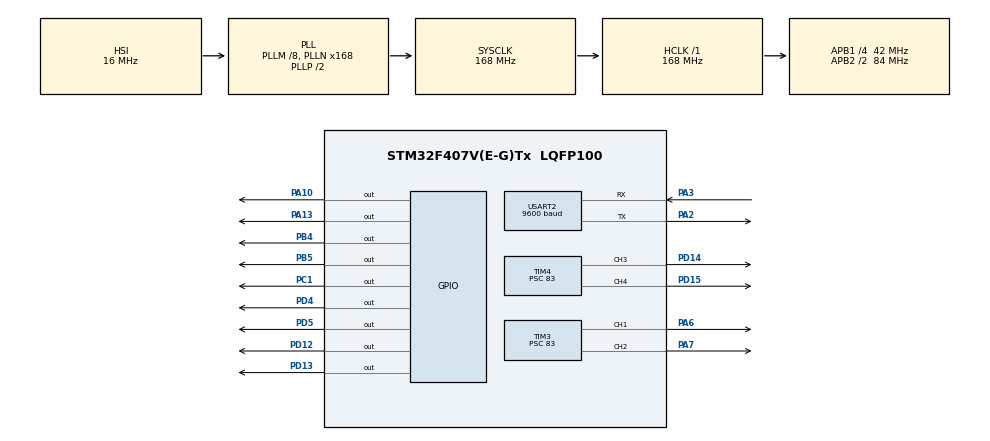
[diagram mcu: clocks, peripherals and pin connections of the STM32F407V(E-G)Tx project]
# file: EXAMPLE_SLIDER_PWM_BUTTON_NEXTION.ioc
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Mcu.Family=STM32F4
RCC.CortexFreq_Value=168000000
SH.S_TIM4_CH4.0=TIM4_CH4,PWM Generation4 CH4
TIM6.Prescaler=83
VP_TIM6_VS_ClockSourceINT.Mode=Enable_Timer
PD5.Signal=GPIO_Output
RCC.APB1CLKDivider=RCC_HCLK_DIV4
USART2.BaudRate=9600
RCC.SYSCLKSource=RCC_SYSCLKSOURCE_PLLCLK
ProjectManager.StackSize=0x400
PA13.Signal=GPIO_Output
PD13.Signal=GPIO_Output
PA3.Mode=Asynchronous
ProjectManager.TargetToolchain=STM32CubeIDE
SH.S_TIM4_CH3.0=TIM4_CH3,PWM Generation3 CH3
RCC.HCLKFreq_Value=168000000
PD4.Signal=GPIO_Output
RCC.APB2TimFreq_Value=168000000
TIM3.Period=19999
TIM4.Prescaler=83
RCC.LSE_VALUE=32768
RCC.AHBFreq_Value=168000000
TIM3.Channel-PWM\ Generation1\ CH1=TIM_CHANNEL_1
SH.S_TIM3_CH2.0=TIM3_CH2,PWM Generation2 CH2
RCC.HSE_VALUE=25000000
TIM4.Channel-PWM\ Generation3\ CH3=TIM_CHANNEL_3
board=custom
RCC.VCOOutputFreq_Value=336000000
RCC.APB2Freq_Value=84000000
VP_TIM2_VS_ClockSourceINT.Mode=Internal
TIM3.Prescaler=83
NVIC.TIM2_IRQn=true\:0\:0\:false\:false\:true\:true\:true
SH.S_TIM3_CH1.0=TIM3_CH1,PWM Generation1 CH1
TIM2.Period=9999
TIM4.Period=99
TIM6.Period=65534
Mcu.Name=STM32F407V(E-G)Tx
PA2.Signal=USART2_TX
PD14.Signal=S_TIM4_CH3
RCC.48MHZClocksFreq_Value=84000000
RCC.SYSCLKFreq_VALUE=168000000
Mcu.Package=LQFP100
PB5.Signal=GPIO_Output
TIM2.Prescaler=8399
PA6.Signal=S_TIM3_CH1
USART2.VirtualMode=VM_ASYNC
PD12.Signal=GPIO_Output
PA10.Signal=GPIO_Output
ProjectManager.HeapSize=0x200
RCC.HSI_VALUE=16000000
NVIC.PriorityGroup=NVIC_PRIORITYGROUP_4
RCC.APB2CLKDivider=RCC_HCLK_DIV2
TIM3.Channel-PWM\ Generation2\ CH2=TIM_CHANNEL_2
RCC.PLLM=8
RCC.PLLN=168
RCC.APB1TimFreq_Value=84000000
PA2.Mode=Asynchronous
TIM4.Channel-PWM\ Generation4\ CH4=TIM_CHANNEL_4
RCC.APB1Freq_Value=42000000
PD15.Signal=S_TIM4_CH4
PC1.Signal=GPIO_Output
PB4.Signal=GPIO_Output
PA3.Signal=USART2_RX
PA7.Signal=S_TIM3_CH2

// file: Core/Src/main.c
/* USER CODE BEGIN Header */
/**
  ******************************************************************************
  * @file           : main.c
  * @brief          : Main program body
  ******************************************************************************
  * @attention
  *
  * <h2><center>&copy; Copyright (c) 2021 STMicroelectronics.
  * All rights reserved.</center></h2>
  *
  * This software component is licensed by ST under BSD 3-Clause license,
  * the "License"; You may not use this file except in compliance with the
  * License. You may obtain a copy of the License at:
  *                        opensource.org/licenses/BSD-3-Clause
  *
  ******************************************************************************
  */
/* USER CODE END Header */
#include "main.h"

/* USER CODE BEGIN Includes */
#include "stdio.h"    // 'sprintf'
#include "string.h"   // 'memset'
#include <stdlib.h>   // 'atoi'
/* USER CODE END Includes */

/* USER CODE BEGIN PD */
//Dht11
#define DHT11_PORT GPIOC      //DHT11_PIN port bilgisi
#define DHT11_PIN GPIO_PIN_1  //DHT11_PIN pin bilgisi

/* USER CODE END PD */

TIM_HandleTypeDef htim2;
TIM_HandleTypeDef htim3;
TIM_HandleTypeDef htim4;
TIM_HandleTypeDef htim6;

UART_HandleTypeDef huart2;

/* USER CODE BEGIN PV */
uint8_t rx_buffer[50],tx_buffer[50];

uint8_t cmdEnd[3] = {0xFF, 0xFF, 0xFF};           //Mesajın sonuna eklenir

char str[10];

char component_id[50],slider_deger[50];          //Gelen veriyi component_id ve slider_deger olarak iki parçaya ayırıyoruz.
char *token ;                                    //Uart dan verileri tokenlere ayiriyoruz.

int slider_value_1 = 0, slider_value_2 = 0;                        //Slider degerini metindenden tamsayı değere çeviriyoruz.

uint8_t servo_1 = 0, servo_2,role_1 = 0, role_2 = 0;               //Servo ve röleleri aç-kapa yapabilmek için değişken.

//DHT11 icin degiskenler
uint16_t durum=0,Humidity=0,Temperature=0;
uint16_t tempVal=0,humVal=0;
uint8_t dhtVal[2] ;
uint8_t mData[40];
uint16_t mTime1 = 0, mTime2 = 0;
uint16_t mbit = 0;
uint8_t  parityVal = 0, genParity = 0;
uint16_t if_sarti= 0;
//Dht11 degiskenler sonu
/* USER CODE END PV */

void SystemClock_Config(void);
static void MX_GPIO_Init(void);
static void MX_USART2_UART_Init(void);
static void MX_TIM4_Init(void);
static void MX_TIM3_Init(void);
static void MX_TIM2_Init(void);
static void MX_TIM6_Init(void);
/* USER CODE BEGIN PFP */

//DHT11 icin fonksiyon tanimlari
void delay(uint16_t time);
void Set_Pin_Output(GPIO_TypeDef *GPIOx, uint16_t GPIO_Pin);
void Set_Pin_Input(GPIO_TypeDef *GPIOx, uint16_t GPIO_Pin);
uint8_t DHT11_Read (uint16_t *sicaklik, uint16_t *nem);

void HAL_TIM_PeriodElapsedCallback(TIM_HandleTypeDef *htim);

/* USER CODE END PFP */

int main(void)
{

  /* MCU Configuration--------------------------------------------------------*/

  /* Reset of all peripherals, Initializes the Flash interface and the Systick. */
  HAL_Init();

  /* Configure the system clock */
  SystemClock_Config();

  /* Initialize all configured peripherals */
  MX_GPIO_Init();
  MX_USART2_UART_Init();
  MX_TIM4_Init();
  MX_TIM3_Init();
  MX_TIM2_Init();
  MX_TIM6_Init();
  /* USER CODE BEGIN 2 */
  HAL_TIM_Base_Start(&htim6);      //DHT 11 gecikme hesaplama için
  HAL_TIM_Base_Start_IT(&htim2);   //DHT 11 1 saniyede bir deger okumak icin

  HAL_TIM_PWM_Start(&htim4, TIM_CHANNEL_3);   // slider1
  HAL_TIM_PWM_Start(&htim4, TIM_CHANNEL_4);   // slider2

  HAL_TIM_PWM_Start(&htim3, TIM_CHANNEL_1);   // 1. servo
  HAL_TIM_PWM_Start(&htim3, TIM_CHANNEL_2);   // 2. servo

  HAL_UART_Transmit(&huart2,(uint8_t*)tx_buffer, sprintf((char*)tx_buffer,"t0.txt=\"baglanti kuruldu\""), 100);
  HAL_UART_Transmit(&huart2, cmdEnd, 3, 100);

  /* USER CODE END 2 */

  /* Infinite loop */
  while (1)
  {

    /* USER CODE BEGIN 3 */
	  HAL_UART_Receive(&huart2, rx_buffer, 50, 100);
	  memcpy(str, rx_buffer, 50);

	  token = strtok(str, " ");
	  strcpy(component_id, token);
	  token = strtok(NULL, " ");
	  strcpy(slider_deger, token);

	  if(strcmp(component_id, "AB") == 0)
	  {
		  if(servo_1 % 2 == 0)
		  {
			  HAL_GPIO_WritePin(GPIOD, GPIO_PIN_12, GPIO_PIN_SET);
			  __HAL_TIM_SET_COMPARE(&htim3, TIM_CHANNEL_1, 500);
		  }
		  else
		  {
			  HAL_GPIO_WritePin(GPIOD, GPIO_PIN_12, GPIO_PIN_RESET);
			  __HAL_TIM_SET_COMPARE(&htim3, TIM_CHANNEL_1, 2500);
		  }
		  servo_1++;
		  //HAL_GPIO_TogglePin(GPIOD, GPIO_PIN_12);
		  memset(rx_buffer, 0, sizeof(rx_buffer));
		  memset(str, 0, sizeof(str));
		  memset(slider_deger, 0, sizeof(slider_deger));
		  memset(component_id, 0, sizeof(component_id));
	  }
	  else if(strcmp(component_id, "CD") == 0)
	  {
		  if(servo_2 % 2 == 0)
		  {
			  __HAL_TIM_SET_COMPARE(&htim3, TIM_CHANNEL_2, 500);
		  }
		  else
		  {
			  __HAL_TIM_SET_COMPARE(&htim3, TIM_CHANNEL_2, 2500);
		  }
		  servo_2++;
		  HAL_GPIO_TogglePin(GPIOD, GPIO_PIN_13);
		  memset(rx_buffer, 0, sizeof(rx_buffer));
		  memset(str, 0, sizeof(str));
		  memset(slider_deger, 0, sizeof(slider_deger));
		  memset(component_id, 0, sizeof(component_id));
	  }
	  else if(strcmp(component_id, "EF") == 0)
	  	  {
	  		  HAL_GPIO_TogglePin(GPIOB, GPIO_PIN_4);
	  		  memset(rx_buffer, 0, sizeof(rx_buffer));
	  		  memset(str, 0, sizeof(str));
	  		  memset(slider_deger, 0, sizeof(slider_deger));
	  		  memset(component_id, 0, sizeof(component_id));
	  	  }
	  else if(strcmp(component_id, "GH") == 0)
	  	  {

	  		  HAL_GPIO_TogglePin(GPIOB, GPIO_PIN_5);
	  		  memset(rx_buffer, 0, sizeof(rx_buffer));
	  		  memset(str, 0, sizeof(str));
	  		  memset(slider_deger, 0, sizeof(slider_deger));
	  		  memset(component_id, 0, sizeof(component_id));
	  	  }
	  else if(strcmp(component_id, "WX") == 0)
	  {
		  HAL_GPIO_WritePin(GPIOA, GPIO_PIN_13, GPIO_PIN_SET);
		  HAL_GPIO_WritePin(GPIOA, GPIO_PIN_10, GPIO_PIN_RESET);
		  slider_value_1 = atoi(slider_deger);

		  __HAL_TIM_SET_COMPARE(&htim4, TIM_CHANNEL_3, slider_value_1);
		 HAL_UART_Transmit(&huart2,(uint8_t*)tx_buffer, sprintf((char*)tx_buffer,"t0.txt=\"%%%d\"",slider_value_1), 100);
		 //Metin icerisinde % yazdirmak icin basina % koymalısın örnek: %%
		 HAL_UART_Transmit(&huart2, cmdEnd, 3, 100);
		  memset(rx_buffer, 0, sizeof(rx_buffer));
		  memset(str, 0, sizeof(str));
		  memset(slider_deger, 0, sizeof(slider_deger));
		  memset(component_id, 0, sizeof(component_id));

	  }
	  else if(strcmp(component_id, "YZ") == 0)
	  {

		  HAL_GPIO_WritePin(GPIOD, GPIO_PIN_5, GPIO_PIN_SET);
		  HAL_GPIO_WritePin(GPIOD, GPIO_PIN_6, GPIO_PIN_RESET);
		  slider_value_2 = atoi(slider_deger);
		  __HAL_TIM_SET_COMPARE(&htim4, TIM_CHANNEL_4, slider_value_2);
		  HAL_UART_Transmit(&huart2,(uint8_t*)tx_buffer, sprintf((char*)tx_buffer,"t1.txt=\"%%%d\"",slider_value_2), 100);
		  HAL_UART_Transmit(&huart2, cmdEnd, 3, 100);
		  memset(rx_buffer, 0, sizeof(rx_buffer));
		  memset(str, 0, sizeof(str));
		  memset(slider_deger, 0, sizeof(slider_deger));
		  memset(component_id, 0, sizeof(component_id));
	  }
  }
  /* USER CODE END 3 */
}

void SystemClock_Config(void)
{
  RCC_OscInitTypeDef RCC_OscInitStruct = {0};
  RCC_ClkInitTypeDef RCC_ClkInitStruct = {0};

  /** Configure the main internal regulator output voltage
  */
  __HAL_RCC_PWR_CLK_ENABLE();
  __HAL_PWR_VOLTAGESCALING_CONFIG(PWR_REGULATOR_VOLTAGE_SCALE1);
  /** Initializes the RCC Oscillators according to the specified parameters
  * in the RCC_OscInitTypeDef structure.
  */
  RCC_OscInitStruct.OscillatorType = RCC_OSCILLATORTYPE_HSI;
  RCC_OscInitStruct.HSIState = RCC_HSI_ON;
  RCC_OscInitStruct.HSICalibrationValue = RCC_HSICALIBRATION_DEFAULT;
  RCC_OscInitStruct.PLL.PLLState = RCC_PLL_ON;
  RCC_OscInitStruct.PLL.PLLSource = RCC_PLLSOURCE_HSI;
  RCC_OscInitStruct.PLL.PLLM = 8;
  RCC_OscInitStruct.PLL.PLLN = 168;
  RCC_OscInitStruct.PLL.PLLP = RCC_PLLP_DIV2;
  RCC_OscInitStruct.PLL.PLLQ = 4;
  if (HAL_RCC_OscConfig(&RCC_OscInitStruct) != HAL_OK)
  {
    Error_Handler();
  }
  /** Initializes the CPU, AHB and APB buses clocks
  */
  RCC_ClkInitStruct.ClockType = RCC_CLOCKTYPE_HCLK|RCC_CLOCKTYPE_SYSCLK
                              |RCC_CLOCKTYPE_PCLK1|RCC_CLOCKTYPE_PCLK2;
  RCC_ClkInitStruct.SYSCLKSource = RCC_SYSCLKSOURCE_PLLCLK;
  RCC_ClkInitStruct.AHBCLKDivider = RCC_SYSCLK_DIV1;
  RCC_ClkInitStruct.APB1CLKDivider = RCC_HCLK_DIV4;
  RCC_ClkInitStruct.APB2CLKDivider = RCC_HCLK_DIV2;

  if (HAL_RCC_ClockConfig(&RCC_ClkInitStruct, FLASH_LATENCY_5) != HAL_OK)
  {
    Error_Handler();
  }
}

static void MX_TIM2_Init(void)
{

  TIM_ClockConfigTypeDef sClockSourceConfig = {0};
  TIM_MasterConfigTypeDef sMasterConfig = {0};

  htim2.Instance = TIM2;
  htim2.Init.Prescaler = 8399;
  htim2.Init.CounterMode = TIM_COUNTERMODE_UP;
  htim2.Init.Period = 9999;
  htim2.Init.ClockDivision = TIM_CLOCKDIVISION_DIV1;
  htim2.Init.AutoReloadPreload = TIM_AUTORELOAD_PRELOAD_DISABLE;
  if (HAL_TIM_Base_Init(&htim2) != HAL_OK)
  {
    Error_Handler();
  }
  sClockSourceConfig.ClockSource = TIM_CLOCKSOURCE_INTERNAL;
  if (HAL_TIM_ConfigClockSource(&htim2, &sClockSourceConfig) != HAL_OK)
  {
    Error_Handler();
  }
  sMasterConfig.MasterOutputTrigger = TIM_TRGO_RESET;
  sMasterConfig.MasterSlaveMode = TIM_MASTERSLAVEMODE_DISABLE;
  if (HAL_TIMEx_MasterConfigSynchronization(&htim2, &sMasterConfig) != HAL_OK)
  {
    Error_Handler();
  }

}

static void MX_TIM3_Init(void)
{

  TIM_MasterConfigTypeDef sMasterConfig = {0};
  TIM_OC_InitTypeDef sConfigOC = {0};

  htim3.Instance = TIM3;
  htim3.Init.Prescaler = 83;
  htim3.Init.CounterMode = TIM_COUNTERMODE_UP;
  htim3.Init.Period = 19999;
  htim3.Init.ClockDivision = TIM_CLOCKDIVISION_DIV1;
  htim3.Init.AutoReloadPreload = TIM_AUTORELOAD_PRELOAD_DISABLE;
  if (HAL_TIM_PWM_Init(&htim3) != HAL_OK)
  {
    Error_Handler();
  }
  sMasterConfig.MasterOutputTrigger = TIM_TRGO_RESET;
  sMasterConfig.MasterSlaveMode = TIM_MASTERSLAVEMODE_DISABLE;
  if (HAL_TIMEx_MasterConfigSynchronization(&htim3, &sMasterConfig) != HAL_OK)
  {
    Error_Handler();
  }
  sConfigOC.OCMode = TIM_OCMODE_PWM1;
  sConfigOC.Pulse = 0;
  sConfigOC.OCPolarity = TIM_OCPOLARITY_HIGH;
  sConfigOC.OCFastMode = TIM_OCFAST_DISABLE;
  if (HAL_TIM_PWM_ConfigChannel(&htim3, &sConfigOC, TIM_CHANNEL_1) != HAL_OK)
  {
    Error_Handler();
  }
  if (HAL_TIM_PWM_ConfigChannel(&htim3, &sConfigOC, TIM_CHANNEL_2) != HAL_OK)
  {
    Error_Handler();
  }
  HAL_TIM_MspPostInit(&htim3);

}

static void MX_TIM4_Init(void)
{

  TIM_MasterConfigTypeDef sMasterConfig = {0};
  TIM_OC_InitTypeDef sConfigOC = {0};

  htim4.Instance = TIM4;
  htim4.Init.Prescaler = 83;
  htim4.Init.CounterMode = TIM_COUNTERMODE_UP;
  htim4.Init.Period = 99;
  htim4.Init.ClockDivision = TIM_CLOCKDIVISION_DIV1;
  htim4.Init.AutoReloadPreload = TIM_AUTORELOAD_PRELOAD_DISABLE;
  if (HAL_TIM_PWM_Init(&htim4) != HAL_OK)
  {
    Error_Handler();
  }
  sMasterConfig.MasterOutputTrigger = TIM_TRGO_RESET;
  sMasterConfig.MasterSlaveMode = TIM_MASTERSLAVEMODE_DISABLE;
  if (HAL_TIMEx_MasterConfigSynchronization(&htim4, &sMasterConfig) != HAL_OK)
  {
    Error_Handler();
  }
  sConfigOC.OCMode = TIM_OCMODE_PWM1;
  sConfigOC.Pulse = 0;
  sConfigOC.OCPolarity = TIM_OCPOLARITY_HIGH;
  sConfigOC.OCFastMode = TIM_OCFAST_DISABLE;
  if (HAL_TIM_PWM_ConfigChannel(&htim4, &sConfigOC, TIM_CHANNEL_3) != HAL_OK)
  {
    Error_Handler();
  }
  if (HAL_TIM_PWM_ConfigChannel(&htim4, &sConfigOC, TIM_CHANNEL_4) != HAL_OK)
  {
    Error_Handler();
  }
  HAL_TIM_MspPostInit(&htim4);

}

static void MX_TIM6_Init(void)
{

  TIM_MasterConfigTypeDef sMasterConfig = {0};

  htim6.Instance = TIM6;
  htim6.Init.Prescaler = 83;
  htim6.Init.CounterMode = TIM_COUNTERMODE_UP;
  htim6.Init.Period = 65534;
  htim6.Init.AutoReloadPreload = TIM_AUTORELOAD_PRELOAD_DISABLE;
  if (HAL_TIM_Base_Init(&htim6) != HAL_OK)
  {
    Error_Handler();
  }
  sMasterConfig.MasterOutputTrigger = TIM_TRGO_RESET;
  sMasterConfig.MasterSlaveMode = TIM_MASTERSLAVEMODE_DISABLE;
  if (HAL_TIMEx_MasterConfigSynchronization(&htim6, &sMasterConfig) != HAL_OK)
  {
    Error_Handler();
  }

}

static void MX_USART2_UART_Init(void)
{

  huart2.Instance = USART2;
  huart2.Init.BaudRate = 9600;
  huart2.Init.WordLength = UART_WORDLENGTH_8B;
  huart2.Init.StopBits = UART_STOPBITS_1;
  huart2.Init.Parity = UART_PARITY_NONE;
  huart2.Init.Mode = UART_MODE_TX_RX;
  huart2.Init.HwFlowCtl = UART_HWCONTROL_NONE;
  huart2.Init.OverSampling = UART_OVERSAMPLING_16;
  if (HAL_UART_Init(&huart2) != HAL_OK)
  {
    Error_Handler();
  }

}

static void MX_GPIO_Init(void)
{
  GPIO_InitTypeDef GPIO_InitStruct = {0};

  /* GPIO Ports Clock Enable */
  __HAL_RCC_GPIOC_CLK_ENABLE();
  __HAL_RCC_GPIOA_CLK_ENABLE();
  __HAL_RCC_GPIOD_CLK_ENABLE();
  __HAL_RCC_GPIOB_CLK_ENABLE();

  /*Configure GPIO pin Output Level */
  HAL_GPIO_WritePin(GPIOC, GPIO_PIN_1, GPIO_PIN_RESET);

  /*Configure GPIO pin Output Level */
  HAL_GPIO_WritePin(GPIOD, GPIO_PIN_12|GPIO_PIN_13|GPIO_PIN_4|GPIO_PIN_5, GPIO_PIN_RESET);

  /*Configure GPIO pin Output Level */
  HAL_GPIO_WritePin(GPIOA, GPIO_PIN_10|GPIO_PIN_13, GPIO_PIN_RESET);

  /*Configure GPIO pin Output Level */
  HAL_GPIO_WritePin(GPIOB, GPIO_PIN_4|GPIO_PIN_5, GPIO_PIN_RESET);

  /*Configure GPIO pin : PC1 */
  GPIO_InitStruct.Pin = GPIO_PIN_1;
  GPIO_InitStruct.Mode = GPIO_MODE_OUTPUT_PP;
  GPIO_InitStruct.Pull = GPIO_NOPULL;
  GPIO_InitStruct.Speed = GPIO_SPEED_FREQ_LOW;
  HAL_GPIO_Init(GPIOC, &GPIO_InitStruct);

  /*Configure GPIO pins : PD12 PD13 PD4 PD5 */
  GPIO_InitStruct.Pin = GPIO_PIN_12|GPIO_PIN_13|GPIO_PIN_4|GPIO_PIN_5;
  GPIO_InitStruct.Mode = GPIO_MODE_OUTPUT_PP;
  GPIO_InitStruct.Pull = GPIO_NOPULL;
  GPIO_InitStruct.Speed = GPIO_SPEED_FREQ_LOW;
  HAL_GPIO_Init(GPIOD, &GPIO_InitStruct);

  /*Configure GPIO pins : PA10 PA13 */
  GPIO_InitStruct.Pin = GPIO_PIN_10|GPIO_PIN_13;
  GPIO_InitStruct.Mode = GPIO_MODE_OUTPUT_PP;
  GPIO_InitStruct.Pull = GPIO_NOPULL;
  GPIO_InitStruct.Speed = GPIO_SPEED_FREQ_LOW;
  HAL_GPIO_Init(GPIOA, &GPIO_InitStruct);

  /*Configure GPIO pins : PB4 PB5 */
  GPIO_InitStruct.Pin = GPIO_PIN_4|GPIO_PIN_5;
  GPIO_InitStruct.Mode = GPIO_MODE_OUTPUT_PP;
  GPIO_InitStruct.Pull = GPIO_NOPULL;
  GPIO_InitStruct.Speed = GPIO_SPEED_FREQ_LOW;
  HAL_GPIO_Init(GPIOB, &GPIO_InitStruct);

}

/* USER CODE BEGIN 4 */

//DHT11 fonksiyon tanimlari
void delay(uint16_t time){

	__HAL_TIM_SET_COUNTER(&htim6,0);

	while(__HAL_TIM_GET_COUNTER(&htim6)< time);

}

void Set_Pin_Output(GPIO_TypeDef *GPIOx, uint16_t GPIO_Pin){

	GPIO_InitTypeDef DHT11_DATA={0};

	DHT11_DATA.Pin=GPIO_Pin;
	DHT11_DATA.Mode=GPIO_MODE_OUTPUT_PP;
	DHT11_DATA.Pull=GPIO_NOPULL;
	DHT11_DATA.Speed=GPIO_SPEED_FREQ_LOW;

	HAL_GPIO_Init(GPIOx,&DHT11_DATA);

}

void Set_Pin_Input(GPIO_TypeDef *GPIOx, uint16_t GPIO_Pin){

	GPIO_InitTypeDef DHT11_DATA={0};

	DHT11_DATA.Pin=GPIO_Pin;
	DHT11_DATA.Mode=GPIO_MODE_INPUT;
	DHT11_DATA.Pull=GPIO_NOPULL;
	DHT11_DATA.Speed=GPIO_SPEED_FREQ_LOW;

	HAL_GPIO_Init(GPIOx,&DHT11_DATA);

}

uint8_t DHT11_Read (uint16_t *sicaklik, uint16_t *nem){

  for(int a=0;a<40;a++) mData[a]=0;
   mTime1 = 0, mTime2 = 0, durum=0, tempVal=0, humVal=0, parityVal = 0, genParity = 0,  mbit = 0;

     Set_Pin_Output(DHT11_PORT,DHT11_PIN);
	 HAL_GPIO_WritePin(DHT11_PORT,DHT11_PIN,GPIO_PIN_RESET);
    delay(18000);
   	Set_Pin_Input(DHT11_PORT,DHT11_PIN);

	 __HAL_TIM_SET_COUNTER(&htim6, 0);
	while(HAL_GPIO_ReadPin(DHT11_PORT, DHT11_PIN) == GPIO_PIN_SET) if((uint16_t)__HAL_TIM_GET_COUNTER(&htim6) > 500) return 0;

	__HAL_TIM_SET_COUNTER(&htim6, 0);
	while(HAL_GPIO_ReadPin(DHT11_PORT, DHT11_PIN) == GPIO_PIN_RESET) if((uint16_t)__HAL_TIM_GET_COUNTER(&htim6) > 500) return 0;
	mTime1 = (uint16_t)__HAL_TIM_GET_COUNTER(&htim6);

	__HAL_TIM_SET_COUNTER(&htim6, 0);
	while(HAL_GPIO_ReadPin(DHT11_PORT, DHT11_PIN) == GPIO_PIN_SET) if((uint16_t)__HAL_TIM_GET_COUNTER(&htim6) > 500) return 0;
    mTime2 = (uint16_t)__HAL_TIM_GET_COUNTER(&htim6);

	if(mTime1 < 75 && mTime1 > 85 && mTime2 < 75 && mTime2 > 85)
	{

		return 0;
	}

	for(int j = 0; j < 40; j++)
	{
		__HAL_TIM_SET_COUNTER(&htim6, 0);
		while(HAL_GPIO_ReadPin(DHT11_PORT, DHT11_PIN) == GPIO_PIN_RESET) if((uint16_t)__HAL_TIM_GET_COUNTER(&htim6) > 500) return 0;
		__HAL_TIM_SET_COUNTER(&htim6, 0);
		while(HAL_GPIO_ReadPin(DHT11_PORT, DHT11_PIN) == GPIO_PIN_SET) if((uint16_t)__HAL_TIM_GET_COUNTER(&htim6) > 500) return 0;
		mTime1 = (uint16_t)__HAL_TIM_GET_COUNTER(&htim6);

		//check pass time in high state
		//if pass time 25uS set as LOW
		if(mTime1 > 20 && mTime1 < 30)
		{
			mbit = 0;
		}
		else if(mTime1 > 60 && mTime1 < 80)
		{
			 mbit = 1;
		}

		//set i th data in data buffer
		mData[j] = mbit;

	}

	//get hum value from data buffer
	for(int i = 0; i < 8; i++)
	{
		humVal += mData[i];
		humVal = humVal << 1;
	}

	//get temp value from data buffer
	for(int i = 16; i < 24; i++)
	{
		tempVal += mData[i];
		tempVal = tempVal << 1;
	}

	//get parity value from data buffer
	for(int i = 32; i < 40; i++)
	{
		parityVal += mData[i];
		parityVal = parityVal << 1;
	}

	parityVal = parityVal >> 1;
	humVal = humVal >> 1;
	tempVal = tempVal >> 1;

	genParity = humVal + tempVal;

	dhtVal[0]= tempVal;
	dhtVal[1] = humVal;

	 *sicaklik=tempVal;
	 *nem=humVal;

	return 1;
}

void HAL_TIM_PeriodElapsedCallback(TIM_HandleTypeDef *htim){

	  durum = DHT11_Read(&Temperature, &Humidity);
		  if(durum == 1)
		  {
			  if_sarti = 1;
		  }
		  else
		  {
			  if_sarti = 0;
		  }
		  HAL_UART_Transmit(&huart2,(uint8_t*)tx_buffer, sprintf((char*)tx_buffer,"page2.t2.txt=\"%d C\"",Temperature), 100);
		  HAL_UART_Transmit(&huart2, cmdEnd, 3, 100);
		  HAL_UART_Transmit(&huart2,(uint8_t*)tx_buffer, sprintf((char*)tx_buffer,"page2.t3.txt=\"%%%d\"",Humidity), 100);
		  HAL_UART_Transmit(&huart2, cmdEnd, 3, 100);

}
/* USER CODE END 4 */

void Error_Handler(void)
{
  __disable_irq();
  while (1)
  {
  }
}

/************************ (C) COPYRIGHT STMicroelectronics *****END OF FILE****/
